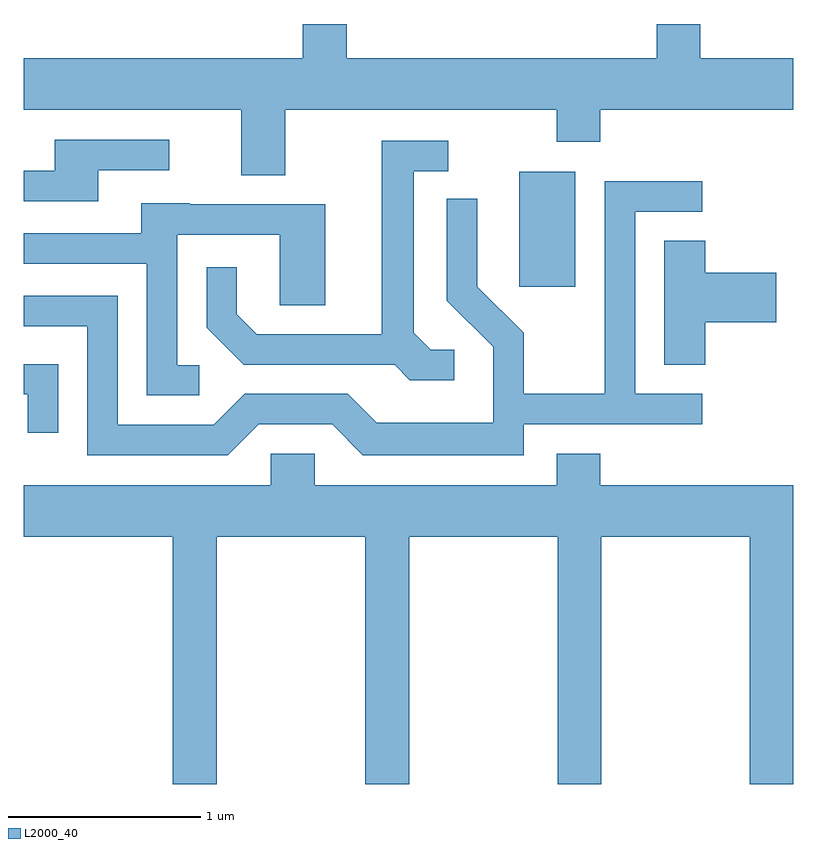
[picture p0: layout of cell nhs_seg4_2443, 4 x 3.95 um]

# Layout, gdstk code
import gdstk
lib = gdstk.Library(unit=1e-6, precision=1e-09)
def R(c, l, rs):  # rectangles x0, y0, x1, y1
    for r in rs: c.add(gdstk.rectangle(r[:2], r[2:], *l))
def P(c, l, *ps):  # polygons
    for p in ps: c.add(gdstk.Polygon(p, *l))
L2000_40 = (2000, 40)

nhs_seg4_2443 = lib.new_cell('nhs_seg4_2443')
R(nhs_seg4_2443, L2000_40, [(258.186,1382.616,258.479,1383.214)])
P(nhs_seg4_2443, L2000_40, [(258.381,1383.371),(258.609,1383.371),(258.609,1383.536),(259.611,1383.536),(259.611,1383.804),(259.129,1383.804),(259.129,1383.982),(258.901,1383.982),(258.901,1383.804),(257.289,1383.804),(257.289,1383.982),(257.061,1383.982),(257.061,1383.804),(255.611,1383.804),(255.611,1383.536),(256.741,1383.536),(256.741,1383.196),(256.969,1383.196),(256.969,1383.536),(258.381,1383.536)],
  [(255.999,1383.221),(256.368,1383.221),(256.368,1383.379),(255.771,1383.379),(255.771,1383.219),(255.611,1383.219),(255.611,1383.061),(255.999,1383.061)],
  [(257.848,1382.289),(257.727,1382.289),(257.639,1382.377),(257.639,1383.216),(257.818,1383.216),(257.818,1383.374),(257.471,1383.374),(257.471,1382.369),(256.822,1382.369),(256.719,1382.472),(256.719,1382.718),(256.561,1382.718),(256.561,1382.404),(256.754,1382.211),(257.539,1382.211),(257.618,1382.131),(257.848,1382.131)],
  [(256.832,1381.901),(257.214,1381.901),(257.373,1381.741),(258.209,1381.741),(258.209,1381.901),(259.138,1381.901),(259.138,1382.059),(258.789,1382.059),(258.789,1383.006),(259.138,1383.006),(259.138,1383.164),(258.631,1383.164),(258.631,1382.059),(258.209,1382.059),(258.209,1382.377),(257.969,1382.617),(257.969,1383.073),(257.811,1383.073),(257.811,1382.544),(258.051,1382.304),(258.051,1381.909),(257.447,1381.909),(257.296,1382.059),(256.759,1382.059),(256.599,1381.899),(256.099,1381.899),(256.099,1382.569),(255.611,1382.569),(255.611,1382.411),(255.941,1382.411),(255.941,1381.741),(256.671,1381.741)],
  [(256.522,1382.209),(256.409,1382.209),(256.409,1382.886),(256.941,1382.886),(256.941,1382.521),(257.179,1382.521),(257.179,1383.044),(256.475,1383.044),(256.475,1383.049),(256.221,1383.049),(256.221,1382.894),(255.611,1382.894),(255.611,1382.736),(256.251,1382.736),(256.251,1382.051),(256.522,1382.051)],
  [(259.154,1382.431),(259.524,1382.431),(259.524,1382.689),(259.154,1382.689),(259.154,1382.854),(258.941,1382.854),(258.941,1382.211),(259.154,1382.211)],
  [(255.789,1382.214),(255.611,1382.214),(255.611,1382.056),(255.631,1382.056),(255.631,1381.858),(255.789,1381.858)],
  [(256.614,1381.316),(257.386,1381.316),(257.386,1380.031),(257.614,1380.031),(257.614,1381.316),(258.386,1381.316),(258.386,1380.031),(258.614,1380.031),(258.614,1381.316),(259.386,1381.316),(259.386,1380.031),(259.611,1380.031),(259.611,1381.584),(258.609,1381.584),(258.609,1381.749),(258.381,1381.749),(258.381,1381.584),(257.124,1381.584),(257.124,1381.749),(256.896,1381.749),(256.896,1381.584),(255.611,1381.584),(255.611,1381.316),(256.386,1381.316),(256.386,1380.031),(256.614,1380.031)])

lib.write_gds('nhs_seg4_2443.gds')
